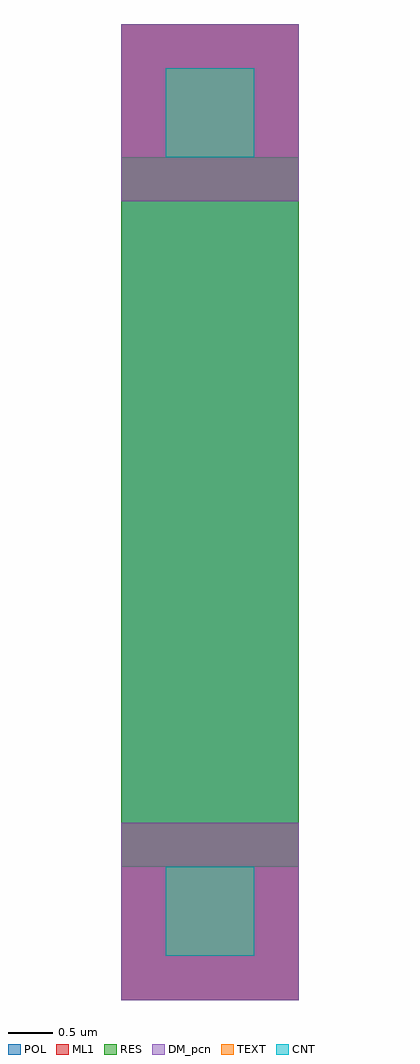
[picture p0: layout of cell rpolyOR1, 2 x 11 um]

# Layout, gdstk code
import gdstk
lib = gdstk.Library(unit=1e-6, precision=1e-09)
def R(c, l, rs):  # rectangles x0, y0, x1, y1
    for r in rs: c.add(gdstk.rectangle(r[:2], r[2:], *l))
POL = (5, 0)
CNT = (7, 0)
ML1 = (8, 0)
TEXT = (13, 0)
RES = (15, 0)
DM_pcn = (102, 0)

pcont = lib.new_cell('pcont')
R(pcont, POL, [(-1,-1,1,1)])
R(pcont, CNT, [(-0.5,-0.5,0.5,0.5)])
R(pcont, ML1, [(-1,-1,1,1)])
R(pcont, TEXT, [(-0.5,-0.5,0.5,0.5)])
R(pcont, DM_pcn, [(-1,-1,1,1)])
pcont.add(gdstk.Label('pcont', (0,0), layer=13, texttype=0))

rpolyor1 = lib.new_cell('rpolyOR1')
R(rpolyor1, ML1, [(0,0,2,2), (0,9,2,11)])
rpolyor1.add(gdstk.FlexPath([(1,0),(1,11)], 2, ends="flush", simple_path=True, layer=5, datatype=0))  # POL
rpolyor1.add(gdstk.FlexPath([(1,1.5),(1,9.5)], 2, ends="flush", simple_path=True, layer=15, datatype=0))  # RES
rpolyor1.add(gdstk.Reference(pcont, (1,1)))
rpolyor1.add(gdstk.Reference(pcont, (1,10)))

lib.write_gds('rpolyOR1.gds')
